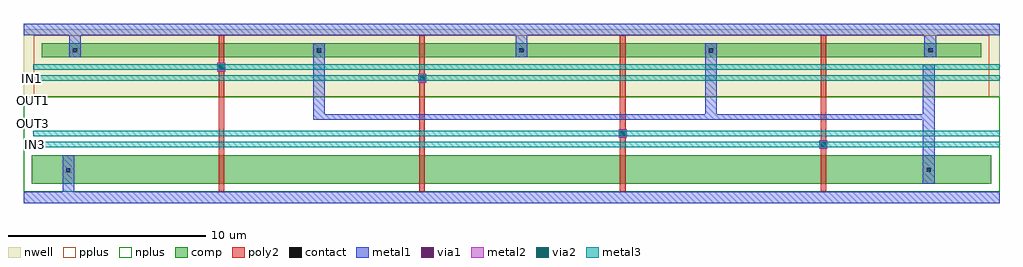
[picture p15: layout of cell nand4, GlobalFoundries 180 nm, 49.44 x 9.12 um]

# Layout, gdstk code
import gdstk
lib = gdstk.Library(unit=1e-6, precision=5e-09)
def R(c, l, rs):  # rectangles x0, y0, x1, y1
    for r in rs: c.add(gdstk.rectangle(r[:2], r[2:], *l))
def A(c, l, x, y, w, h, nx, ny, dx, dy):  # array of equal rectangles
    R(c, l, [(x+i*dx, y+j*dy, x+i*dx+w, y+j*dy+h) for i in range(nx) for j in range(ny)])
nwell = (21, 0)
comp = (22, 0)
poly2 = (30, 0)
pplus = (31, 0)
nplus = (32, 0)
contact = (33, 0)
metal1 = (34, 0)
via1 = (35, 0)
metal2 = (36, 0)
via2 = (38, 0)
metal3 = (42, 0)

nand4 = lib.new_cell('nand4')
R(nand4, nwell, [(0,5.115,49.44,8.515)])
R(nand4, comp, [(0.43,0.7,49.01,2.14), (0.93,7.095,48.51,7.815)])
A(nand4, poly2, 9.885, 0.3, 0.28, 7.92, 4, 1, 10.165, 0)
R(nand4, poly2, [(40.315,2.465,40.72,2.905), (30.145,3.025,30.55,3.465), (19.985,5.825,20.39,6.265), (9.82,6.385,10.225,6.825)])
R(nand4, pplus, [(0.52,5.115,48.92,8.215)])
R(nand4, nplus, [(0,0.3,49.44,5.115)])
R(nand4, contact, [(2.16,1.27,2.38,1.49), (45.745,1.295,45.965,1.515), (40.41,2.575,40.63,2.795), (30.24,3.135,30.46,3.355), (20.08,5.935,20.3,6.155), (9.915,6.495,10.135,6.715), (14.855,7.34,15.075,7.56), (34.72,7.34,34.94,7.56), (2.495,7.35,2.715,7.57), (25.125,7.35,25.345,7.57), (45.83,7.35,46.05,7.57)])
R(nand4, metal1, [(0,-0.3,49.44,0.3), (1.99,-0.295,2.58,2.14), (45.54,0.7,46.17,6.745), (40.315,2.465,40.72,2.905), (30.145,3.025,30.55,3.465), (14.685,3.945,46.17,4.215), (14.685,3.945,15.25,7.815), (34.525,3.945,35.105,7.815), (19.985,5.825,20.39,6.265), (9.82,6.385,10.225,6.825), (2.305,7.095,2.895,8.815), (24.935,7.095,25.525,8.815), (45.64,7.095,46.23,8.815), (0,8.215,49.44,8.815)])
R(nand4, via1, [(40.39,2.555,40.65,2.815), (30.22,3.115,30.48,3.375), (20.06,5.915,20.32,6.175), (9.895,6.475,10.155,6.735)])
R(nand4, metal2, [(40.315,2.465,40.72,2.905), (30.145,3.025,30.55,3.465), (19.985,5.825,20.39,6.265), (9.82,6.385,10.225,6.825)])
R(nand4, via2, [(40.39,2.555,40.65,2.815), (30.22,3.115,30.48,3.375), (20.06,5.915,20.32,6.175), (9.895,6.475,10.155,6.735)])
nand4.add(gdstk.FlexPath([(0.5,6.605),(49.44,6.605)], 0.28, ends="flush", simple_path=True, layer=42, datatype=0))  # metal3
nand4.add(gdstk.FlexPath([(0.5,6.045),(49.44,6.045)], 0.28, ends="flush", simple_path=True, layer=42, datatype=0))  # metal3
nand4.add(gdstk.FlexPath([(0.5,3.245),(49.44,3.245)], 0.28, ends="flush", simple_path=True, layer=42, datatype=0))  # metal3
nand4.add(gdstk.FlexPath([(0.5,2.685),(49.44,2.685)], 0.28, ends="flush", simple_path=True, layer=42, datatype=0))  # metal3
nand4.add(gdstk.Label('OUT3', (0.485,3.765), layer=42, texttype=10))
nand4.add(gdstk.Label('OUT2', (0.53,4.345), layer=42, texttype=10))
nand4.add(gdstk.Label('OUT1', (0.505,4.905), layer=42, texttype=10))
nand4.add(gdstk.Label('OUT0', (0.485,5.495), layer=42, texttype=10))
nand4.add(gdstk.Label('IN3', (0.625,2.665), layer=42, texttype=10))
nand4.add(gdstk.Label('IN2', (0.58,3.235), layer=42, texttype=10))
nand4.add(gdstk.Label('IN1', (0.445,6.045), layer=42, texttype=10))
nand4.add(gdstk.Label('IN0', (0.415,6.605), layer=42, texttype=10))

lib.write_gds('nand4.gds')
